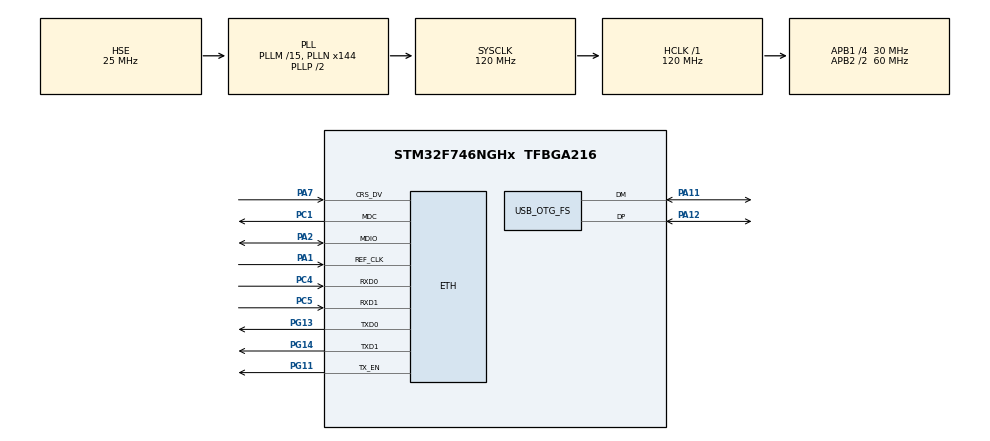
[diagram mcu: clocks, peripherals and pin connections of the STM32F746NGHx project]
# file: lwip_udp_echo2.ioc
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CORTEX_M7.CPU_DCache=Disabled
CORTEX_M7.CPU_ICache=Disabled
ETH.MediaInterface=ETH_MEDIA_INTERFACE_RMII
ETH.PHY_ISFR_INT4=0x0010
ETH.PHY_RESET_DELAY=0x00000FFF
ETH.PhyAddress=0
FREERTOS.Mutexes01=usbCdcMutex,Dynamic,NULL
FREERTOS.Tasks01=defaultTask,24,512,StartDefaultTask,Default,NULL,Dynamic,NULL,NULL;udpEchoServer,24,512,EchoServerTask,Default,NULL,Dynamic,NULL,NULL
FREERTOS.Timers01=debugHeartbeatTimer,DebugHeartbeatCallback,osTimerPeriodic,Default,NULL,Dynamic,NULL
FREERTOS.configTIMER_TASK_PRIORITY=24
FREERTOS.configTIMER_TASK_STACK_DEPTH=2048
FREERTOS.configTOTAL_HEAP_SIZE=30720
LWIP.DEFAULT_THREAD_PRIO=48
LWIP.DEFAULT_THREAD_STACKSIZE=2048
LWIP.LWIP_DNS=1
LWIP.LWIP_MPU_COMPATIBLE=1
LWIP.LWIP_SNTP=1
LWIP.MEMP_NUM_PBUF=32
LWIP.MEM_SIZE=3200
LWIP.PBUF_POOL_SIZE=32
LWIP.SLIPIF_THREAD_PRIO=48
LWIP.SLIPIF_THREAD_STACKSIZE=2048
LWIP.TCPIP_THREAD_PRIO=48
LWIP.TCPIP_THREAD_STACKSIZE=2048
LWIP.Version=v2.1.2_Cube
Mcu.Family=STM32F7
Mcu.Name=STM32F746NGHx
Mcu.Package=TFBGA216
NVIC.ETH_IRQn=true\:5\:0\:false\:false\:true\:true\:false\:true
NVIC.OTG_FS_IRQn=true\:5\:0\:false\:false\:true\:true\:false\:true
NVIC.PriorityGroup=NVIC_PRIORITYGROUP_4
NVIC.TIM1_UP_TIM10_IRQn=true\:0\:0\:false\:false\:true\:false\:false\:true
NVIC.TimeBase=TIM1_UP_TIM10_IRQn
NVIC.TimeBaseIP=TIM1
PA1.Mode=RMII
PA1.Signal=ETH_REF_CLK
PA11.Mode=Device_Only
PA11.Signal=USB_OTG_FS_DM
PA12.Mode=Device_Only
PA12.Signal=USB_OTG_FS_DP
PA2.Mode=RMII
PA2.Signal=ETH_MDIO
PA7.Mode=RMII
PA7.Signal=ETH_CRS_DV
PC1.Mode=RMII
PC1.Signal=ETH_MDC
PC4.Mode=RMII
PC4.Signal=ETH_RXD0
PC5.Mode=RMII
PC5.Signal=ETH_RXD1
PG11.Mode=RMII
PG11.Signal=ETH_TX_EN
PG13.Mode=RMII
PG13.Signal=ETH_TXD0
PG14.Mode=RMII
PG14.Signal=ETH_TXD1
PH0/OSC_IN.Mode=HSE-External-Oscillator
PH0/OSC_IN.Signal=RCC_OSC_IN
PH1/OSC_OUT.Mode=HSE-External-Oscillator
PH1/OSC_OUT.Signal=RCC_OSC_OUT
ProjectManager.HeapSize=0x200
ProjectManager.StackSize=0x400
ProjectManager.TargetToolchain=STM32CubeIDE
RCC.AHBFreq_Value=120000000
RCC.APB1CLKDivider=RCC_HCLK_DIV4
RCC.APB1Freq_Value=30000000
RCC.APB1TimFreq_Value=60000000
RCC.APB2CLKDivider=RCC_HCLK_DIV2
RCC.APB2Freq_Value=60000000
RCC.APB2TimFreq_Value=120000000
RCC.CortexFreq_Value=120000000
RCC.HCLKFreq_Value=120000000
RCC.HSE_VALUE=25000000
RCC.HSI_VALUE=16000000
RCC.LSE_VALUE=32768
RCC.PLLM=15
RCC.PLLN=144
RCC.PLLQ=5
RCC.SYSCLKFreq_VALUE=120000000
RCC.SYSCLKSource=RCC_SYSCLKSOURCE_PLLCLK
RCC.USBFreq_Value=48000000
RCC.VCOOutputFreq_Value=240000000
USB_DEVICE.CLASS_NAME_FS=CDC
USB_DEVICE.VirtualMode-CDC_FS=Cdc
USB_DEVICE.VirtualModeFS=Cdc_FS
USB_OTG_FS.VirtualMode=Device_Only
VP_FREERTOS_VS_CMSIS_V2.Mode=CMSIS_V2
VP_LWIP_VS_Enabled.Mode=Enabled
VP_SYS_VS_tim1.Mode=TIM1
VP_USB_DEVICE_VS_USB_DEVICE_CDC_FS.Mode=CDC_FS
board=STM32F746G-DISCO

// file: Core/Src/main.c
/* USER CODE BEGIN Header */
/**
  ******************************************************************************
  * @file           : main.c
  * @brief          : Main program body
  ******************************************************************************
  * @attention
  *
  * <h2><center>&copy; Copyright (c) 2020 STMicroelectronics.
  * All rights reserved.</center></h2>
  *
  * This software component is licensed by ST under BSD 3-Clause license,
  * the "License"; You may not use this file except in compliance with the
  * License. You may obtain a copy of the License at:
  *                        opensource.org/licenses/BSD-3-Clause
  *
  ******************************************************************************
  */
/* USER CODE END Header */

#include "main.h"
#include "cmsis_os.h"
#include "lwip.h"
#include "usb_device.h"

/* USER CODE BEGIN Includes */
#include "usbd_cdc_if.h"
#include "stdarg.h"
#include "api.h"
#include "sntp.h"
#include "mqtt.h"
/* USER CODE END Includes */

/* Definitions for defaultTask */
osThreadId_t defaultTaskHandle;
const osThreadAttr_t defaultTask_attributes = {
  .name = "defaultTask",
  .priority = (osPriority_t) osPriorityNormal,
  .stack_size = 2048 * 4
};
/* Definitions for udpEchoServer */
osThreadId_t udpEchoServerHandle;
const osThreadAttr_t udpEchoServer_attributes = {
  .name = "udpEchoServer",
  .priority = (osPriority_t) osPriorityNormal,
  .stack_size = 2048 * 4
};
/* Definitions for debugHeartbeatTimer */
osTimerId_t debugHeartbeatTimerHandle;
const osTimerAttr_t debugHeartbeatTimer_attributes = {
  .name = "debugHeartbeatTimer"
};
/* Definitions for usbCdcMutex */
osMutexId_t usbCdcMutexHandle;
const osMutexAttr_t usbCdcMutex_attributes = {
  .name = "usbCdcMutex"
};

void SystemClock_Config(void);
static void MX_GPIO_Init(void);
void StartDefaultTask(void *argument);
void EchoServerTask(void *argument);
void DebugHeartbeatCallback(void *argument);

/* USER CODE BEGIN 0 */
void debug(const char* format, ...) {
  //if (osMutexAcquire(usbCdcMutexHandle, osWaitForever) == osOK) {
    va_list args;
    va_start(args, format);
    vprintf(format, args);
    va_end(args);
//    osMutexRelease(usbCdcMutexHandle);
//  }
}

const int MAX_USBD_BUSY_LOOPS = 1000;
int busyLoopCounter = 0;

int _write(int file, char *ptr, int len) {
  busyLoopCounter = 0;
  while (CDC_Transmit_FS((uint8_t*)ptr, len) == USBD_BUSY) {
    busyLoopCounter++;
    if (busyLoopCounter >= MAX_USBD_BUSY_LOOPS) {
      return 0;
    } else if (busyLoopCounter % 20 == 0) {
      osThreadYield();
    }
  }
  return len;
}
/* USER CODE END 0 */

int main(void)
{

  /* MCU Configuration--------------------------------------------------------*/

  /* Reset of all peripherals, Initializes the Flash interface and the Systick. */
  HAL_Init();

  /* Configure the system clock */
  SystemClock_Config();

  /* Initialize all configured peripherals */
  MX_GPIO_Init();

  /* Init scheduler */
  osKernelInitialize();
  /* Create the mutex(es) */
  /* creation of usbCdcMutex */
  usbCdcMutexHandle = osMutexNew(&usbCdcMutex_attributes);

  /* Create the timer(s) */
  /* creation of debugHeartbeatTimer */
  debugHeartbeatTimerHandle = osTimerNew(DebugHeartbeatCallback, osTimerPeriodic, NULL, &debugHeartbeatTimer_attributes);

  /* Create the thread(s) */
  /* creation of defaultTask */
  defaultTaskHandle = osThreadNew(StartDefaultTask, NULL, &defaultTask_attributes);

  /* creation of udpEchoServer */
  udpEchoServerHandle = osThreadNew(EchoServerTask, NULL, &udpEchoServer_attributes);

  /* Start scheduler */
  osKernelStart();

  /* We should never get here as control is now taken by the scheduler */
  /* Infinite loop */
  while (1)
  {

  }
}

void SystemClock_Config(void)
{
  RCC_OscInitTypeDef RCC_OscInitStruct = {0};
  RCC_ClkInitTypeDef RCC_ClkInitStruct = {0};
  RCC_PeriphCLKInitTypeDef PeriphClkInitStruct = {0};

  /** Configure the main internal regulator output voltage
  */
  __HAL_RCC_PWR_CLK_ENABLE();
  __HAL_PWR_VOLTAGESCALING_CONFIG(PWR_REGULATOR_VOLTAGE_SCALE3);
  /** Initializes the CPU, AHB and APB busses clocks
  */
  RCC_OscInitStruct.OscillatorType = RCC_OSCILLATORTYPE_HSE;
  RCC_OscInitStruct.HSEState = RCC_HSE_ON;
  RCC_OscInitStruct.PLL.PLLState = RCC_PLL_ON;
  RCC_OscInitStruct.PLL.PLLSource = RCC_PLLSOURCE_HSE;
  RCC_OscInitStruct.PLL.PLLM = 15;
  RCC_OscInitStruct.PLL.PLLN = 144;
  RCC_OscInitStruct.PLL.PLLP = RCC_PLLP_DIV2;
  RCC_OscInitStruct.PLL.PLLQ = 5;
  if (HAL_RCC_OscConfig(&RCC_OscInitStruct) != HAL_OK)
  {
    Error_Handler();
  }
  /** Initializes the CPU, AHB and APB busses clocks
  */
  RCC_ClkInitStruct.ClockType = RCC_CLOCKTYPE_HCLK|RCC_CLOCKTYPE_SYSCLK
                              |RCC_CLOCKTYPE_PCLK1|RCC_CLOCKTYPE_PCLK2;
  RCC_ClkInitStruct.SYSCLKSource = RCC_SYSCLKSOURCE_PLLCLK;
  RCC_ClkInitStruct.AHBCLKDivider = RCC_SYSCLK_DIV1;
  RCC_ClkInitStruct.APB1CLKDivider = RCC_HCLK_DIV4;
  RCC_ClkInitStruct.APB2CLKDivider = RCC_HCLK_DIV2;

  if (HAL_RCC_ClockConfig(&RCC_ClkInitStruct, FLASH_LATENCY_3) != HAL_OK)
  {
    Error_Handler();
  }
  PeriphClkInitStruct.PeriphClockSelection = RCC_PERIPHCLK_CLK48;
  PeriphClkInitStruct.Clk48ClockSelection = RCC_CLK48SOURCE_PLL;
  if (HAL_RCCEx_PeriphCLKConfig(&PeriphClkInitStruct) != HAL_OK)
  {
    Error_Handler();
  }
}

static void MX_GPIO_Init(void)
{

  /* GPIO Ports Clock Enable */
  __HAL_RCC_GPIOG_CLK_ENABLE();
  __HAL_RCC_GPIOA_CLK_ENABLE();
  __HAL_RCC_GPIOH_CLK_ENABLE();
  __HAL_RCC_GPIOC_CLK_ENABLE();

}

void StartDefaultTask(void *argument)
{
  /* init code for LWIP */
  MX_LWIP_Init();

  /* init code for USB_DEVICE */
  MX_USB_DEVICE_Init();
  /* USER CODE BEGIN 5 */
  //osTimerStart(debugHeartbeatTimerHandle, 3000);

//  sntp_setserver(idx, server)

  osDelay(3000); // wait for ethernet and DHCP to settle

  ip4_addr_t ntp_server_addr;
  netconn_gethostbyname("pool.ntp.org", &ntp_server_addr);

  sntp_init();

  mqtt_client_t *mqtt_client = mqtt_client_new();
  struct mqtt_connect_client_info_t mqtt_client_info;
  mqtt_client_info.client_id = "stm32f746";
  mqtt_client_info.client_user = NULL;
  mqtt_client_info.client_pass = NULL;
  mqtt_client_info.keep_alive = 1;
  mqtt_client_info.will_msg = NULL;
  mqtt_client_info.will_qos = 0;
  mqtt_client_info.will_retain = 0;
  mqtt_client_info.will_topic = NULL;
  ip4_addr_t revmac_addr;
  IP4_ADDR(&revmac_addr, 192, 168, 0, 31);
  err_t mqtt_connect_result = mqtt_client_connect(mqtt_client, &revmac_addr, 1883, NULL, NULL, &mqtt_client_info);

  for (;;) {
    uint32_t ticks = osKernelGetTickCount();
    if (ticks > 8000) {

      if (mqtt_client_is_connected(mqtt_client)) {
        mqtt_publish(mqtt_client, "test/1", "Olafo", 5, 1, 0, NULL, NULL);
      }

      //char ntp[32];

      //ip4addr_ntoa_r(&addr1, ntp, 32);
      //ip4addr_ntoa_r(&addr2, &google, 32);

      //debug("Heartbeat kernelTickCount=%d\r\n", ticks);
      //debug("pool.ntp.org: %s\r\n", ntp);
      //debug("google.com: %s\r\n", google);

      osDelay(1000);
    }

  }
//  osThreadExit();
  /* USER CODE END 5 */
}

void EchoServerTask(void *argument)
{
  /* USER CODE BEGIN EchoServerTask */
  struct netconn *conn;
  struct netbuf *buf;
  ip_addr_t *addr;
  unsigned short port;

  err_t err, recv_err;

  LWIP_UNUSED_ARG(argument);

  conn = netconn_new(NETCONN_UDP);
  if (conn!= NULL)
  {
    err = netconn_bind(conn, IP_ADDR_ANY, 7777);
    if (err == ERR_OK)
    {
      while (1)
      {
        recv_err = netconn_recv(conn, &buf);

        if (recv_err == ERR_OK)
        {
          addr = netbuf_fromaddr(buf);
          port = netbuf_fromport(buf);
          netconn_sendto(conn, buf, addr, port);
          netbuf_delete(buf);
        }
        else
        {
          debug("UDP echo server netconn_recv error: %d", recv_err);
        }
      }
    }
    else
    {
      debug("UDP echo server netconn_bind error: %d", err);
      netconn_delete(conn);
    }
  }
  /* USER CODE END EchoServerTask */
}

/* DebugHeartbeatCallback function */
void DebugHeartbeatCallback(void *argument)
{
  /* USER CODE BEGIN DebugHeartbeatCallback */
  //debug("Heartbeat kernelTickCount=%d\r\n", osKernelGetTickCount());
  /* USER CODE END DebugHeartbeatCallback */
}

 /**
  * @brief  Period elapsed callback in non blocking mode
  * @note   This function is called  when TIM1 interrupt took place, inside
  * HAL_TIM_IRQHandler(). It makes a direct call to HAL_IncTick() to increment
  * a global variable "uwTick" used as application time base.
  * @param  htim : TIM handle
  * @retval None
  */
void HAL_TIM_PeriodElapsedCallback(TIM_HandleTypeDef *htim)
{
  if (htim->Instance == TIM1) {
    HAL_IncTick();
  }
}

void Error_Handler(void)
{
}

/************************ (C) COPYRIGHT STMicroelectronics *****END OF FILE****/
